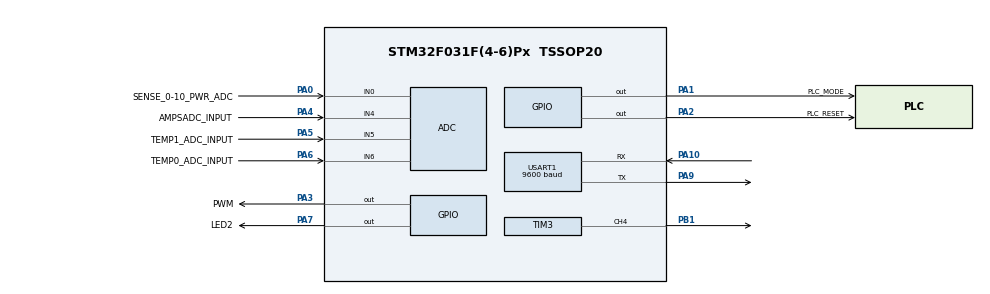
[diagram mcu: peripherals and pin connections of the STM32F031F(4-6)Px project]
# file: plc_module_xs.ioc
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ADC.ContinuousConvMode=ENABLE
ADC.DiscontinuousConvMode=DISABLE
ADC.EOCSelection=ADC_EOC_SINGLE_CONV
ADC.SamplingTime=ADC_SAMPLETIME_41CYCLES_5
ADC.ScanConvMode=ADC_SCAN_DIRECTION_FORWARD
CRC.InputDataInversionMode=CRC_INPUTDATA_INVERSION_NONE
Mcu.Family=STM32F0
Mcu.Name=STM32F031F(4-6)Px
Mcu.Package=TSSOP20
NVIC.FLASH_IRQn=true\:0\:0\:false\:false\:true\:true\:true
NVIC.TIM14_IRQn=true\:0\:0\:false\:false\:true\:true\:true
NVIC.TIM1_BRK_UP_TRG_COM_IRQn=true\:0\:0\:false\:false\:true\:true\:true
NVIC.TIM1_CC_IRQn=true\:0\:0\:false\:false\:true\:true\:true
NVIC.TIM3_IRQn=true\:0\:0\:false\:false\:true\:true\:true
NVIC.USART1_IRQn=true\:0\:0\:false\:false\:true\:true\:true
PA0.GPIO_Label=SENSE_0-10_PWR_ADC
PA0.Mode=IN0
PA0.Signal=ADC_IN0
PA1.GPIO_Label=PLC_MODE
PA1.Signal=GPIO_Output
PA10.Mode=Asynchronous
PA10.Signal=USART1_RX
PA13.Mode=Serial_Wire
PA13.Signal=SYS_SWDIO
PA14.Mode=Serial_Wire
PA14.Signal=SYS_SWCLK
PA2.GPIO_Label=PLC_RESET
PA2.Signal=GPIO_Output
PA3.GPIO_Label=PWM
PA3.Signal=GPIO_Output
PA4.GPIO_Label=AMPSADC_INPUT
PA4.Mode=IN4
PA4.Signal=ADC_IN4
PA5.GPIO_Label=TEMP1_ADC_INPUT
PA5.Mode=IN5
PA5.Signal=ADC_IN5
PA6.GPIO_Label=TEMP0_ADC_INPUT
PA6.Mode=IN6
PA6.Signal=ADC_IN6
PA7.GPIO_Label=LED2
PA7.Signal=GPIO_Output
PA9.Mode=Asynchronous
PA9.Signal=USART1_TX
PB1.GPIO_PuPd=GPIO_PULLDOWN
PB1.GPIO_Speed=GPIO_SPEED_FREQ_HIGH
PB1.Signal=S_TIM3_CH4
PF0-OSC_IN.Mode=HSE-External-Oscillator
PF0-OSC_IN.Signal=RCC_OSC_IN
PF1-OSC_OUT.Mode=HSE-External-Oscillator
PF1-OSC_OUT.Signal=RCC_OSC_OUT
ProjectManager.HeapSize=0x200
ProjectManager.StackSize=0x400
ProjectManager.TargetToolchain=MDK-ARM V5
RCC.AHBFreq_Value=8000000
RCC.APB1Freq_Value=8000000
RCC.APB1TimFreq_Value=8000000
RCC.HCLKFreq_Value=8000000
RCC.HSE_VALUE=16000000
RCC.PLLMUL=RCC_PLL_MUL3
RCC.PLLSourceVirtual=RCC_PLLSOURCE_HSE
RCC.SYSCLKFreq_VALUE=8000000
SH.S_TIM3_CH4.0=TIM3_CH4,PWM Generation4 CH4
TIM1.Period=2999
TIM1.Prescaler=7999
TIM14.AutoReloadPreload=TIM_AUTORELOAD_PRELOAD_DISABLE
TIM14.ClockDivision=TIM_CLOCKDIVISION_DIV4
TIM14.Period=29
TIM14.Prescaler=64999
TIM3.AutoReloadPreload=TIM_AUTORELOAD_PRELOAD_ENABLE
TIM3.Channel-PWM\ Generation4\ CH4=TIM_CHANNEL_4
TIM3.ClockDivision=TIM_CLOCKDIVISION_DIV4
TIM3.OCPolarity_4=TIM_OCPOLARITY_LOW
TIM3.Period=255
TIM3.Prescaler=127
TIM3.Pulse-PWM\ Generation4\ CH4=100
USART1.BaudRate=9600
USART1.VirtualMode-Asynchronous=VM_ASYNC
VP_ADC_TempSens_Input.Mode=IN-TempSens
VP_ADC_Vref_Input.Mode=IN-Vrefint
VP_CRC_VS_CRC.Mode=CRC_Activate
VP_TIM14_VS_ClockSourceINT.Mode=Enable_Timer
VP_TIM1_VS_ClockSourceINT.Mode=Internal
VP_TIM3_VS_ClockSourceINT.Mode=Internal
board=custom

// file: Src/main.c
/* USER CODE BEGIN Header */
/**
  ******************************************************************************
  * @file           : main.c
  * @brief          : Main program body
  ******************************************************************************
  * @attention
  *
  * <h2><center>&copy; Copyright (c) 2019 STMicroelectronics.
  * All rights reserved.</center></h2>
  *
  * This software component is licensed by ST under BSD 3-Clause license,
  * the "License"; You may not use this file except in compliance with the
  * License. You may obtain a copy of the License at:
  *                        opensource.org/licenses/BSD-3-Clause
  *
  ******************************************************************************
  */
/* USER CODE END Header */

#include "main.h"
#include "adc.h"
#include "crc.h"
#include "tim.h"
#include "usart.h"
#include "gpio.h"

/* USER CODE BEGIN Includes */
#include "stm32_uid.h"
#include "plc_greenlight_protocol.h"
#include "stm32f0xx_hal_plc_uart.h"
#include "circular_buffer.h"
#include "plc_mmrpi.h"
#include "dali_interface_lib.h"
/* USER CODE END Includes */

/* USER CODE BEGIN PV */
uint16_t status_g = 0;
uint8_t brightness_g = 0;
uint16_t volt_g = 0;
uint16_t amps_g = 0;
uint16_t temp_g = 0;
uint16_t temp2_g = 0;
uint16_t tempint_g = 0;
uint32_t vrefint_g = 0;
uint32_t time_seconds = 0;

CircularBuffer_Typedef kq130_buf;
uint8_t packet_analyze_buf[PACKET_SIZE];
uint8_t new_byte_received = 0;
/* USER CODE END PV */

void SystemClock_Config(void);
/* USER CODE BEGIN PFP */

/**Force VectorTable to specific memory position defined in linker*/
volatile uint32_t VectorTable[48] __attribute__((section(".RAMVectorTable")));

void remapMemToSRAM( void )
{
    uint32_t vecIndex = 0;
    __disable_irq();

    for(vecIndex = 0; vecIndex < 48; vecIndex++){
        VectorTable[vecIndex] = *(volatile uint32_t*)(FW_START_ADDR + (vecIndex << 2));
    }

    __HAL_SYSCFG_REMAPMEMORY_SRAM();

    __enable_irq();
}

/* USER CODE END PFP */

int main(void)
{
  /* USER CODE BEGIN 1 */
  //remapMemToSRAM();
  /* USER CODE END 1 */

  /* MCU Configuration--------------------------------------------------------*/

  /* Reset of all peripherals, Initializes the Flash interface and the Systick. */
  HAL_Init();

  /* USER CODE BEGIN Init */
  for (uint8_t i = 0; i < PACKET_SIZE; i++)
    packet_analyze_buf[i] = 0;
  /* USER CODE END Init */

  /* Configure the system clock */
  SystemClock_Config();

  /* Initialize all configured peripherals */
  MX_GPIO_Init();
  MX_ADC_Init();
  MX_CRC_Init();
  MX_TIM1_Init();
  MX_USART1_UART_Init();
  MX_TIM14_Init();
  MX_TIM3_Init();
  Init_UUID();
  /* USER CODE BEGIN 2 */
  //HAL_GPIO_WritePin(GPIOB, GPIO_PIN_1, GPIO_PIN_SET);

  // Start Timer for ADC flag
  HAL_ADCEx_Calibration_Start(&hadc);

  HAL_TIM_Base_Start_IT(&htim1); // UpdateSensorsValues();
  HAL_TIM_Base_Start_IT(&htim14); // Offline Detection Sensor;

  user_pwm_setvalue(0);

  CircularBuffer_Init(&kq130_buf);

  HAL_GPIO_WritePin(PLC_RESET_GPIO_Port, PLC_RESET_Pin, GPIO_PIN_SET);
  HAL_GPIO_WritePin(PLC_MODE_GPIO_Port, PLC_MODE_Pin, GPIO_PIN_RESET);
  HAL_GPIO_WritePin(LED2_GPIO_Port, LED2_Pin, GPIO_PIN_SET);

  /* USER CODE END 2 */

  /* Infinite loop */
  while (1)
  {
//HAL_GPIO_TogglePin(LED2_GPIO_Port, LED2_Pin);
    /* USER CODE BEGIN 3 */
    //Receive 1 byte from KQ130F
    HAL_UART_Receive_IT(&huart1, &plc_uart_buf, 1);
    // if there is a chance to contain full packet plc_circular_buf_data_size
    // must be greater or equal than PACKET_SIZE
    uint16_t len = CircularBuffer_GetLength(&kq130_buf);

    if (len >= PACKET_SIZE && new_byte_received == 1)
    {
      time_seconds = TIME_WAIT_OFFLINE*2;
      //Signature.Offline = 0;
      //HAL_FLASH_Unlock();
      //HAL_FLASH_Program(FLASH_TYPEPROGRAM_WORD, FLASH_ADDR_FOR_STORING+sizeof(uint32_t)*OFFLINE_OFFSET, (uint32_t)Signature.Offline);
      //HAL_FLASH_Lock();

      new_byte_received = 0;
      CircularBuffer_GetLastNValues(&kq130_buf, packet_analyze_buf, PACKET_SIZE);
      if (IsValidMaintenancePacket(packet_analyze_buf))
      {
        ProceedMaintenanceCmd(packet_analyze_buf);
        CircularBuffer_RemoveLastNValues(&kq130_buf, PACKET_SIZE); //packet was read and throwed away
      }
      else if (IsValidRegularPacket(packet_analyze_buf))
      {
        ProceedRegularCmd(packet_analyze_buf);
        CircularBuffer_RemoveLastNValues(&kq130_buf, PACKET_SIZE); //packet was read and throwed away
      }
    }
  }
  /* USER CODE END 3 */
}

void SystemClock_Config(void)
{
  LL_FLASH_SetLatency(LL_FLASH_LATENCY_0);

  if(LL_FLASH_GetLatency() != LL_FLASH_LATENCY_0)
  {
  Error_Handler();
  }
  LL_RCC_HSI_Enable();

   /* Wait till HSI is ready */
  while(LL_RCC_HSI_IsReady() != 1)
  {

  }
  LL_RCC_HSI_SetCalibTrimming(16);
  LL_RCC_HSI14_Enable();

   /* Wait till HSI14 is ready */
  while(LL_RCC_HSI14_IsReady() != 1)
  {

  }
  LL_RCC_HSI14_SetCalibTrimming(16);
  LL_RCC_SetAHBPrescaler(LL_RCC_SYSCLK_DIV_1);
  LL_RCC_SetAPB1Prescaler(LL_RCC_APB1_DIV_1);
  LL_RCC_SetSysClkSource(LL_RCC_SYS_CLKSOURCE_HSI);

   /* Wait till System clock is ready */
  while(LL_RCC_GetSysClkSource() != LL_RCC_SYS_CLKSOURCE_STATUS_HSI)
  {

  }
  LL_SetSystemCoreClock(8000000);
  LL_RCC_HSI14_EnableADCControl();
  LL_RCC_SetUSARTClockSource(LL_RCC_USART1_CLKSOURCE_PCLK1);
}

/* USER CODE BEGIN 4 */

/*! \brief Jumps to the bootloader.
 */
void JumpToBootloader(void)
{
  HAL_UART_AbortReceive_IT(&huart1);
  HAL_TIM_Base_Stop(&htim1);
  HAL_TIM_Base_Stop(&htim14);
  HAL_TIM_PWM_Stop(&htim3, TIM_CHANNEL_4);
  HAL_ADC_Stop(&hadc);

  if (((*(__IO uint32_t*)BOOT_FLAG_ADDRESS) & 0x2FFE0000 ) == 0x20000000)
  {
    /* First, disable all IRQs */
    __disable_irq();

    /* Get the main application start address */
    uint32_t jump_address = *(__IO uint32_t *)(BOOT_FLAG_ADDRESS + 4);

    /* Set the main stack pointer to to the application start address */
    __set_MSP(*(__IO uint32_t *)BOOT_FLAG_ADDRESS);

    // Create function pointer for the main application
    void (*pmain_app)(void) = (void (*)(void))(jump_address);

    // Now jump to the main application
    pmain_app();
  }
}

void HAL_TIM_PeriodElapsedCallback(TIM_HandleTypeDef *htim)
{
  if (htim == &htim1)
  {

    uint16_t ADCValue = 0x00;
    uint16_t MCUTemperatureDegrees = 0;
    HAL_ADC_Start(&hadc);
    if (HAL_ADC_PollForConversion(&hadc, HAL_MAX_DELAY) == HAL_OK)
    {
      volt_g = HAL_ADC_GetValue(&hadc); /* Gets volt_g */
    //HAL_ADC_PollForConversion(&hadc, 100);
      amps_g = HAL_ADC_GetValue(&hadc); /* Gets amps_g */
//    HAL_ADC_PollForConversion(&hadc, HAL_MAX_DELAY);
      temp_g = HAL_ADC_GetValue(&hadc); /* Gets temp_g */
//    HAL_ADC_PollForConversion(&hadc, HAL_MAX_DELAY);
      temp2_g = HAL_ADC_GetValue(&hadc); /* Gets temp2_g */
//    HAL_ADC_PollForConversion(&hadc, HAL_MAX_DELAY);
      tempint_g = HAL_ADC_GetValue(&hadc); /* Gets tempint_g */
//    HAL_ADC_PollForConversion(&hadc, HAL_MAX_DELAY);
      vrefint_g = HAL_ADC_GetValue(&hadc); /* Gets vrefint_g */
    }
    HAL_ADC_Stop(&hadc);
    //MCUTemperatureDegrees = __LL_ADC_CALC_TEMPERATURE(3300, ADCValue, LL_ADC_RESOLUTION_12B);

    uint8_t data[13] = {12,
                          volt_g >> 8, volt_g & 0xFF,
                          amps_g >> 8, amps_g & 0xFF,
                          temp_g >> 8, temp_g & 0xFF,
                          temp2_g >> 8, temp2_g & 0xFF,
                          tempint_g >> 8, tempint_g & 0xFF,
                          vrefint_g >> 8, vrefint_g & 0xFF

    };
    //HAL_UART_Transmit(&huart1, data, 13, 100);

//
//    tempint_g = get_internal_temp();
//    temp_g = get_temp_value();
//    temp2_g = get_temp2_value();
//    volt_g = get_volts_value();
//    amps_g = get_amps_value();
//

  }
  if (htim == &htim14) // Offline detector
	{

    if (time_seconds <= TIME_WAIT_OFFLINE)
    {
      time_seconds += 1;
      //HAL_GPIO_TogglePin(LED2_GPIO_Port, LED2_Pin);
    }

    if (time_seconds == TIME_WAIT_OFFLINE)
    {
      brightness_g = 255;
      user_pwm_setvalue(brightness_g);
    }
	}
}

void HAL_UART_RxCpltCallback(UART_HandleTypeDef *huart)
{
  if (huart == &huart1)
  {
    HAL_GPIO_TogglePin(LED2_GPIO_Port, LED2_Pin);
    CircularBuffer_Put_OW(&kq130_buf, plc_uart_buf);
    new_byte_received = 1;
  }
}

/* USER CODE END 4 */

void Error_Handler(void)
{
}

/************************ (C) COPYRIGHT STMicroelectronics *****END OF FILE****/
